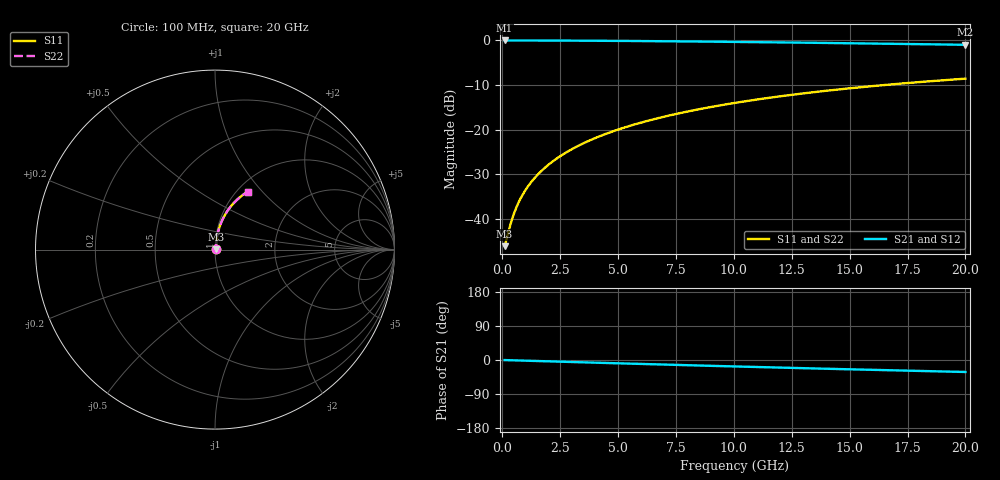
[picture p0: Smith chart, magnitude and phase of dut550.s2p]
! Touchstone file exported from HFSS 2024.1.0
!  File:  C:/UserFiles/LocalFiles/RDL_TSV_Batchsim/temp_RDL_top_550_1779680889.aedt
!  Generated:  11:50:21 AM May 25, 2026
!  Design:  RDL_top
!  Project:  temp_RDL_top_550_1779680889
!  Setup:  Setup1
!  Solution:  Sweep
! Variables:
!  dtsv = 10.80580581um
!  hbump = 3um
!  htsv = 80.23um
!  ldown = 100um
!  lrdl = 396.49um
!  p = 40
!  p1 = 41.1um
!  rhole = 1um
!  t = 450um
!  tdown = 3.915915916um
!  trdl = 2.68um
!  wdown = 15.38538539um
!  wrdl = 12.02um
# GHz S MA R 50.000000
! Terminal data exported
! Port[1] = Box2_T1
! Port[2] = Box2_T2
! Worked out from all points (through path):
!   200 points, 100 MHz to 20 GHz, reference 50 ohm
!   highest |S21| = -0.04 dB at 100 MHz (marker M1); lowest = -1.0 dB at 20 GHz (marker M2)
!   group delay of S21, straight-line fit = 4.39 ps
!   lowest |S11| = -46.1 dB at 100 MHz (marker M3), VSWR 1.01, Z = 50.5 + j0.211 ohm
!   |S11| at or under -10 dB: start of sweep to 16.53 GHz
!   |S22| runs from -46.1 to -8.6 dB; largest |S21 - S12| = 3.1e-15
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0.1  0.004958 25.0  0.9955 -0.2  0.9955 -0.2  0.004958 25.0
! Gamma 0 0 0 0
! Port Impedance 50 0 50 0
0.3  0.007771 53.5  0.9954 -0.5  0.9954 -0.5  0.007771 53.5
0.4  0.009546 60.3  0.9953 -0.7  0.9953 -0.7  0.009546 60.3
0.5  0.0114 64.9  0.9952 -0.9  0.9952 -0.9  0.0114 64.9
0.6  0.0133 68.1  0.995 -1.1  0.995 -1.1  0.0133 68.1
0.7  0.01522 70.4  0.9949 -1.3  0.9949 -1.3  0.01522 70.4
0.9  0.01908 73.7  0.9947 -1.6  0.9947 -1.6  0.01908 73.7
1.2  0.0249 76.6  0.9943 -2.1  0.9943 -2.1  0.0249 76.6
1.4  0.0288 77.8  0.994 -2.5  0.994 -2.5  0.0288 77.8
1.7  0.03467 79.0  0.9935 -3.0  0.9935 -3.0  0.03467 79.0
2.2  0.04451 80.2  0.9927 -3.9  0.9927 -3.9  0.04451 80.2
2.8  0.05636 80.8  0.9914 -5.0  0.9914 -5.0  0.05636 80.8
3.5  0.07025 80.9  0.9896 -6.2  0.9896 -6.2  0.07025 80.9
4.2  0.08416 80.6  0.9874 -7.4  0.9874 -7.4  0.08416 80.6
5  0.1001 80.1  0.9846 -8.7  0.9846 -8.7  0.1001 80.1
5.9  0.118 79.2  0.981 -10.3  0.981 -10.3  0.118 79.2
6.8  0.1358 78.3  0.9769 -11.8  0.9769 -11.8  0.1358 78.3
8.3  0.1653 76.4  0.9693 -14.2  0.9693 -14.2  0.1653 76.5
10.1  0.2001 74.1  0.959 -17.1  0.959 -17.1  0.2002 74.1
13.4  0.2616 69.5  0.9378 -22.2  0.9378 -22.2  0.2616 69.5
16.7  0.319 64.9  0.9145 -27.0  0.9145 -27.0  0.3191 64.9
20  0.3717 60.4  0.89 -31.6  0.89 -31.6  0.3718 60.4
